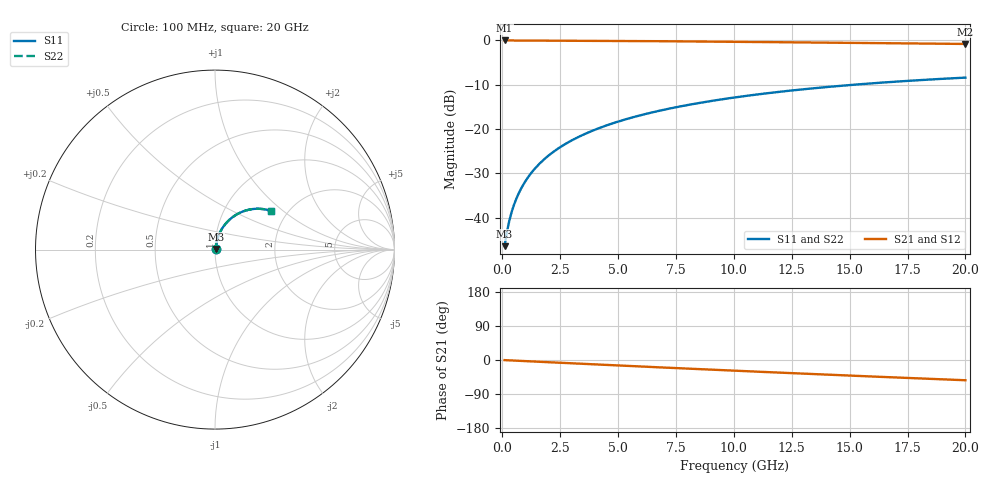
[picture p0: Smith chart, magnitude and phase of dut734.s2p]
! Touchstone file exported from HFSS 2026.1.0
!  File:  C:/ffzhzh/LocalFiles/Ansys_Project_Files/temp_train_BSMRDL_734_1783168571_43440.aedt
!  Generated:  08:37:32 PM Jul  4, 2026
!  Design:  BSMRDL
!  Project:  temp_train_BSMRDL_734_1783168571_43440
! Variables:
!  h_bsmrdl = 4.08um
!  h_ox = 20um
!  h_rdl = 5um
!  h_sub = 80um
!  h_tmrdl = 5um
!  h_tsv = 80um
!  h_via = 3um
!  l_bsmrdl = 867.4um
!  l_sub = 1267.4um
!  l_tmrdl = 200um
!  m_sub = 200um
!  pitch = 38.96um
!  r_tsv = 6um
!  s_tmrdl = 10um
!  w_bsmrdl = 20.53um
!  w_sub = 500um
!  w_tmrdl = 12um
!  x_tsv_center1 = 206um
!  x_tsv_center2 = 1093.93um
!  x_tsv_center3 = 1305.93um
!  x_tsv_center4 = 2193.86um
!  x_tsv_center5 = 2405.86um
!  x_tsv_center6 = 3293.79um
# GHz S MA R 50.000000
! Terminal data exported
! Port[1] = BSM_RDL1_1_T1
! Port[2] = BSM_RDL1_1_T2
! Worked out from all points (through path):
!   200 points, 100 MHz to 20 GHz, reference 50 ohm
!   highest |S21| = -0.03 dB at 100 MHz (marker M1); lowest = -0.8 dB at 20 GHz (marker M2)
!   group delay of S21, straight-line fit = 7.41 ps
!   lowest |S11| = -46.4 dB at 100 MHz (marker M3), VSWR 1.01, Z = 50.4 + j0.286 ohm
!   |S11| at or under -10 dB: start of sweep to 15.21 GHz
!   |S22| runs from -46.4 to -8.4 dB; largest |S21 - S12| = 8.2e-15
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0.1  0.004787 36.3  0.9962 -0.3  0.9962 -0.3  0.004787 36.3
! Gamma 0 0 0 0
! Port Impedance 50 0 50 0
0.2  0.006897 53.1  0.9959 -0.6  0.9959 -0.6  0.006897 53.1
0.3  0.009199 61.1  0.9957 -0.9  0.9957 -0.9  0.009199 61.1
0.4  0.01153 65.8  0.9954 -1.2  0.9954 -1.2  0.01153 65.8
0.5  0.01387 69.0  0.9953 -1.5  0.9953 -1.5  0.01387 69.0
0.6  0.01624 71.3  0.9951 -1.8  0.9951 -1.8  0.01624 71.3
0.8  0.02103 74.2  0.9949 -2.4  0.9949 -2.4  0.02103 74.2
1.1  0.0283 76.5  0.9946 -3.2  0.9946 -3.2  0.0283 76.5
1.3  0.03318 77.2  0.9943 -3.8  0.9943 -3.8  0.03318 77.2
1.6  0.04053 77.7  0.9938 -4.7  0.9938 -4.7  0.04053 77.7
2.1  0.05275 77.7  0.9929 -6.1  0.9929 -6.1  0.05275 77.7
2.7  0.0673 76.9  0.9916 -7.9  0.9916 -7.9  0.0673 76.9
3.5  0.08644 75.3  0.9894 -10.2  0.9894 -10.2  0.08644 75.3
4.2  0.1029 73.7  0.9872 -12.2  0.9872 -12.2  0.1029 73.7
5  0.1213 71.7  0.9843 -14.4  0.9843 -14.4  0.1213 71.7
5.9  0.1415 69.4  0.9808 -16.9  0.9808 -16.9  0.1415 69.4
6.8  0.1611 67.1  0.977 -19.4  0.977 -19.4  0.1611 67.1
8.3  0.1926 63.2  0.9702 -23.5  0.9702 -23.5  0.1926 63.2
10.1  0.2282 58.6  0.9614 -28.4  0.9614 -28.4  0.2282 58.6
13.4  0.2874 50.3  0.9442 -37.0  0.9442 -37.0  0.2874 50.3
16.7  0.338 42.3  0.9267 -45.4  0.9267 -45.4  0.338 42.3
20  0.3799 34.5  0.9101 -53.4  0.9101 -53.4  0.3799 34.5
